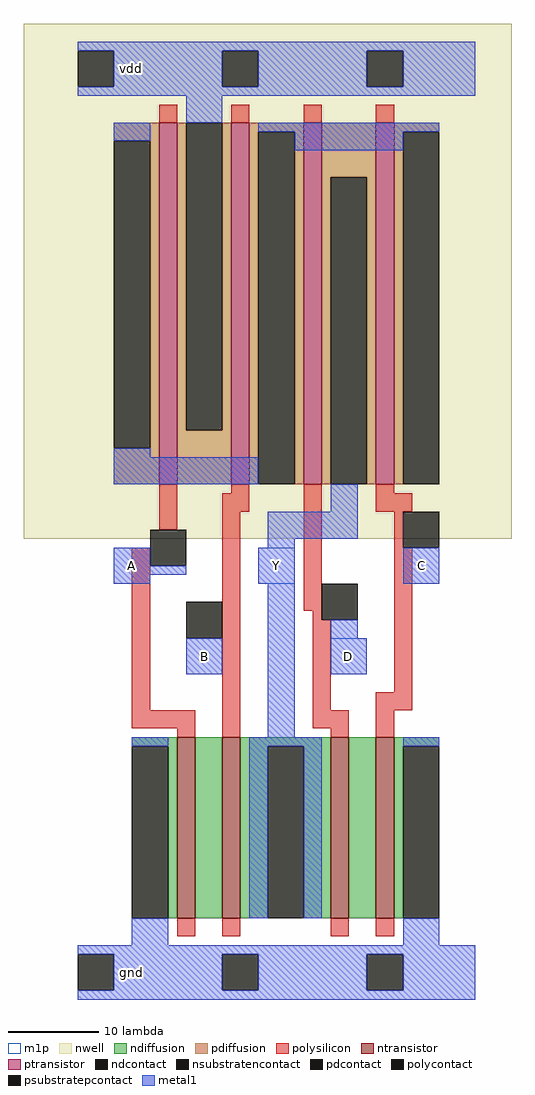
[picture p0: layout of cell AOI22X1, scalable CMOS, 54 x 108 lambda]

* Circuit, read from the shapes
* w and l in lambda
.subckt AOI22X1 A B C D Y gnd vdd
M1 n1 A gnd gnd nfet w=20 l=2
M2 Y B n1 gnd nfet w=20 l=2
M3 n2 D Y gnd nfet w=20 l=2
M4 gnd C n2 gnd nfet w=20 l=2
M5 vdd A n3 vdd pfet w=40 l=2
M6 n3 B vdd vdd pfet w=40 l=2
M7 Y D n3 vdd pfet w=40 l=2
M8 n3 C Y vdd pfet w=40 l=2
.ends

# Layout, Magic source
magic
tech scmos
<< nwell >>
rect -8 48 46 105
<< ntransistor >>
rect 9 6 11 26
rect 14 6 16 26
rect 26 6 28 26
rect 31 6 33 26
<< ptransistor >>
rect 7 54 9 94
rect 15 54 17 94
rect 23 54 25 94
rect 31 54 33 94
<< ndiffusion >>
rect 4 25 9 26
rect 8 6 9 25
rect 11 6 14 26
rect 16 25 26 26
rect 16 6 19 25
rect 23 6 26 25
rect 28 6 31 26
rect 33 25 38 26
rect 33 6 34 25
<< pdiffusion >>
rect 2 92 7 94
rect 6 58 7 92
rect 2 54 7 58
rect 9 60 10 94
rect 14 60 15 94
rect 9 54 15 60
rect 17 93 23 94
rect 17 54 18 93
rect 22 54 23 93
rect 25 88 31 94
rect 25 54 26 88
rect 30 54 31 88
rect 33 93 38 94
rect 33 54 34 93
<< ndcontact >>
rect 4 6 8 25
rect 19 6 23 25
rect 34 6 38 25
<< pdcontact >>
rect 2 58 6 92
rect 10 60 14 94
rect 18 54 22 93
rect 26 54 30 88
rect 34 54 38 93
<< psubstratepcontact >>
rect -2 -2 2 2
rect 14 -2 18 2
rect 30 -2 34 2
<< nsubstratencontact >>
rect -2 98 2 102
rect 14 98 18 102
rect 30 98 34 102
<< polysilicon >>
rect 7 94 9 96
rect 15 94 17 96
rect 23 94 25 96
rect 31 94 33 96
rect 7 49 9 54
rect 15 53 17 54
rect 14 51 17 53
rect 4 29 6 47
rect 4 27 11 29
rect 9 26 11 27
rect 14 26 16 51
rect 23 40 25 54
rect 31 53 33 54
rect 31 51 35 53
rect 33 47 34 51
rect 24 39 25 40
rect 24 29 26 39
rect 33 31 35 47
rect 31 29 35 31
rect 24 27 28 29
rect 26 26 28 27
rect 31 26 33 29
rect 9 4 11 6
rect 14 4 16 6
rect 26 4 28 6
rect 31 4 33 6
<< polycontact >>
rect 6 45 10 49
rect 10 37 14 41
rect 34 47 38 51
rect 25 39 29 43
<< metal1 >>
rect -2 102 42 103
rect 2 98 14 102
rect 18 98 30 102
rect 34 98 42 102
rect -2 97 42 98
rect 10 94 14 97
rect 2 92 6 94
rect 18 93 38 94
rect 2 57 6 58
rect 2 54 18 57
rect 22 91 34 93
rect 26 51 29 54
rect 2 45 6 47
rect 19 48 29 51
rect 19 47 22 48
rect 2 44 10 45
rect 2 43 6 44
rect 18 43 22 47
rect 34 43 38 47
rect 10 33 14 37
rect 19 26 22 43
rect 26 37 29 39
rect 26 33 30 37
rect 4 25 8 26
rect 17 25 25 26
rect 17 6 19 25
rect 23 6 25 25
rect 34 25 38 26
rect 4 3 8 6
rect 34 3 38 6
rect -2 2 42 3
rect 2 -2 14 2
rect 18 -2 30 2
rect 34 -2 42 2
rect -2 -3 42 -2
<< m1p >>
rect 2 43 6 47
rect 18 43 22 47
rect 34 43 38 47
rect 10 33 14 37
rect 26 33 30 37
<< labels >>
rlabel metal1 4 0 4 0 4 gnd
rlabel metal1 4 100 4 100 4 vdd
rlabel metal1 36 45 36 45 4 C
rlabel metal1 28 35 28 35 4 D
rlabel metal1 20 45 20 45 4 Y
rlabel metal1 4 45 4 45 4 A
rlabel metal1 12 35 12 35 4 B
<< end >>
